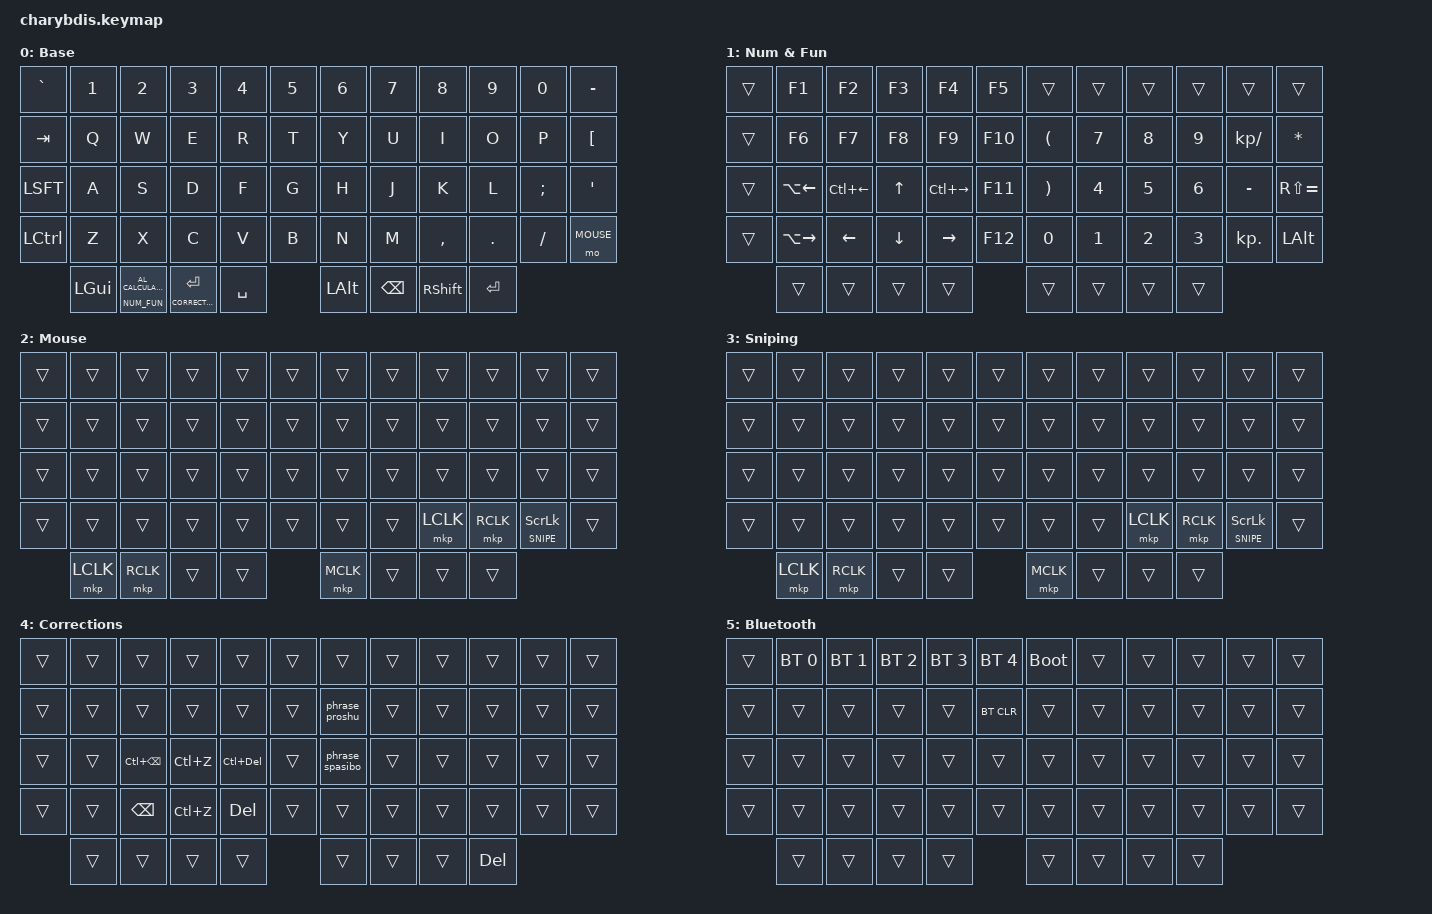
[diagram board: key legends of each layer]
#include <dt-bindings/zmk/mouse.h>
#include <behaviors/mouse_keys.dtsi>
#include <behaviors.dtsi>
#include <dt-bindings/zmk/bt.h>
#include <dt-bindings/zmk/keys.h>
#include <dt-bindings/zmk/outputs.h>
#include <dt-bindings/zmk/pointing.h>

/ {
    chosen { zmk,physical-layout = &charybdis_6col_layout; };
};

&mt {
    quick-tap-ms = <200>;
    flavor = "tap-preferred";
    tapping-term-ms = <170>;
};

&lt {
    quick-tap-ms = <200>;
    flavor = "tap-preferred";
    tapping-term-ms = <170>;
};

// Layer definitions
#define BASE 0
#define NUM_FUN 1
#define MOUSE 2
#define SNIPE 3
#define CORRECTIONS 4
#define SET_BT 5

/ {
  behaviors {
    // Hold-tap behavior for layer with tap-preferred
    blt: blt {
      compatible = "zmk,behavior-hold-tap";
      #binding-cells = <2>;
      flavor = "tap-preferred";
      tapping-term-ms = <200>;
      quick-tap-ms = <300>;
      require-prior-idle-ms = <100>;
      bindings = <&mo>, <&kp>;
    };

    // Tap-dance for GUI/Ctrl+B
    gui_ctrlb: gui_ctrlb {
      compatible = "zmk,behavior-tap-dance";
      #binding-cells = <0>;
      tapping-term-ms = <200>;
      bindings = <&kp LGUI>, <&kp LC(B)>;
    };

    // Home row mods - Left hand
    hml: home_row_mod_left {
      compatible = "zmk,behavior-hold-tap";
      #binding-cells = <2>;
      flavor = "balanced";
      require-prior-idle-ms = <150>;
      tapping-term-ms = <280>;
      quick-tap-ms = <175>;
      bindings = <&kp>, <&kp>;
      hold-trigger-key-positions = <6 7 8 9 10 11 18 19 20 21 22 23 30 31 32 33 34 35 42 43 44 45 46 47 53 54 55>; // Right side keys
      hold-trigger-on-release;
    };

    // Home row mods - Right hand
    hmr: home_row_mod_right {
      compatible = "zmk,behavior-hold-tap";
      #binding-cells = <2>;
      flavor = "balanced";
      require-prior-idle-ms = <150>;
      tapping-term-ms = <280>;
      quick-tap-ms = <175>;
      bindings = <&kp>, <&kp>;
      hold-trigger-key-positions = <0 1 2 3 4 5 12 13 14 15 16 17 24 25 26 27 28 29 36 37 38 39 40 41 48 49 50 51 52>; // Left side keys
      hold-trigger-on-release;
    };
  };

  macros {
    // Ctrl+Alt+Cmd macro
    CAC: CAC {
      compatible = "zmk,behavior-macro-one-param";
      #binding-cells = <1>;
      bindings
        = <&macro_press &kp LCTRL &kp LALT &kp LGUI>
        , <&macro_param_1to1>
        , <&macro_tap &kp MACRO_PLACEHOLDER>
        , <&macro_release &kp LCTRL &kp LALT &kp LGUI>
        ;
    };

    // Ctrl+Shift+Alt macro
    CSA: CSA {
      compatible = "zmk,behavior-macro-one-param";
      #binding-cells = <1>;
      bindings
        = <&macro_press &kp LCTRL &kp LSHIFT &kp LALT>
        , <&macro_param_1to1>
        , <&macro_tap &kp MACRO_PLACEHOLDER>
        , <&macro_release &kp LCTRL &kp LSHIFT &kp LALT>
        ;
    };

    // Ctrl+Alt macro
    CA: CA {
      compatible = "zmk,behavior-macro-one-param";
      #binding-cells = <1>;
      bindings
        = <&macro_press &kp LCTRL &kp LALT>
        , <&macro_param_1to1>
        , <&macro_tap &kp MACRO_PLACEHOLDER>
        , <&macro_release &kp LCTRL &kp LALT>
        ;
    };

    // Shift+Middle Click macro
    ls_mclk: ls_mclk {
      compatible = "zmk,behavior-macro";
      wait-ms = <0>;
      tap-ms = <10>;
      #binding-cells = <0>;
      bindings
        = <&macro_press &kp LSHIFT>
        , <&macro_tap &mkp MCLK>
        , <&macro_release &kp LSHIFT>
        ;
    };

    // Russian phrase macro: "Прошу рассмотреть"
    phrase_proshu: phrase_proshu {
      compatible = "zmk,behavior-macro";
      #binding-cells = <0>;
      bindings
        = <&macro_press &kp LSHIFT>
        , <&macro_tap &kp G>
        , <&macro_release &kp LSHIFT>
        , <&macro_tap &kp H &kp J &kp I &kp E &kp SPACE>
        , <&macro_tap &kp H &kp F &kp C &kp C &kp V &kp J &kp N &kp H &kp T &kp N &kp M>
        , <&macro_press &kp LCTRL>
        , <&macro_tap &kp ENTER>
        , <&macro_release &kp LCTRL>
        ;
    };

    // Russian phrase macro: "Спасибо!"
    phrase_spasibo: phrase_spasibo {
      compatible = "zmk,behavior-macro";
      #binding-cells = <0>;
      bindings
        = <&macro_press &kp LSHIFT>
        , <&macro_tap &kp C>
        , <&macro_release &kp LSHIFT>
        , <&macro_tap &kp G &kp F &kp C &kp B &kp COMMA &kp J &kp EXCL>
        , <&macro_press &kp LCTRL>
        , <&macro_tap &kp ENTER>
        , <&macro_release &kp LCTRL>
        ;
    };
  };

  combos {
    compatible = "zmk,combos";
    timeout-ms = <20>;
    require-prior-idle-ms = <250>;

    // Studio Unlock Combo - all three right thumb keys
    combo_studio_unlock {
      timeout-ms = <50>;
      key-positions = <53 54 55>;
      bindings = <&studio_unlock>;
    };

    // ===== Combos from WHT-MAIN-SWG =====
    // Symbols
    minus {
      bindings = <&kp MINUS>;
      key-positions = <31 30>;
    };

    par {
      bindings = <&kp RIGHT_PARENTHESIS>;
      key-positions = <31 32>;
      require-prior-idle-ms = <100>;
    };

    par2 {
      bindings = <&kp LEFT_PARENTHESIS>;
      key-positions = <27 28>;
      require-prior-idle-ms = <100>;
    };

    underscore {
      bindings = <&kp UNDER>;
      key-positions = <42 43>;
    };

    bra {
      bindings = <&kp LEFT_BRACKET>;
      key-positions = <15 16>;
    };

    right {
      bindings = <&kp RIGHT_BRACKET>;
      key-positions = <19 20>;
    };

    equal {
      bindings = <&kp EQUAL>;
      key-positions = <40 41>;
    };

    plus {
      bindings = <&kp PLUS>;
      key-positions = <18 19>;
    };

    less {
      bindings = <&kp LESS_THAN>;
      key-positions = <39 40>;
    };

    greater {
      bindings = <&kp GREATER_THAN>;
      key-positions = <43 44>;
    };

    // Special keys
    esc {
      bindings = <&kp ESCAPE>;
      key-positions = <0 1>;
    };

    logoff {
      bindings = <&kp LG(L)>;
      key-positions = <0 12>;
    };

    // Layer access
    LAYER_BT {
      bindings = <&mo SET_BT>;
      key-positions = <36 47>;
    };

    // Navigation (only active on layer 1)
    home {
      bindings = <&kp HOME>;
      key-positions = <10 22>;
      layers = <NUM_FUN>;
    };

    end {
      bindings = <&kp END>;
      key-positions = <11 23>;
      layers = <NUM_FUN>;
    };

    pg_up {
      bindings = <&kp PAGE_UP>;
      key-positions = <10 11>;
      layers = <NUM_FUN>;
    };

    pg_dn {
      bindings = <&kp PAGE_DOWN>;
      key-positions = <22 23>;
      layers = <NUM_FUN>;
    };

    ar_up {
      bindings = <&kp UP_ARROW>;
      key-positions = <34 35>;
      layers = <NUM_FUN>;
    };

    ar_dn {
      bindings = <&kp DOWN_ARROW>;
      key-positions = <46 47>;
      layers = <NUM_FUN>;
    };

    ar_lt {
      bindings = <&kp LEFT_ARROW>;
      key-positions = <34 46>;
      layers = <NUM_FUN>;
    };

    al_rt {
      bindings = <&kp RIGHT_ARROW>;
      key-positions = <35 47>;
      layers = <NUM_FUN>;
    };

    // Scrolling
    Scroll_L {
      bindings = <&msc SCRL_LEFT>;
      key-positions = <24 36>;
    };

    Scroll_R {
      bindings = <&msc SCRL_RIGHT>;
      key-positions = <25 37>;
    };

  };

  keymap {
    compatible = "zmk,keymap";

// ╭─────────────┬─────────────┬─────────────┬─────────────┬─────────────┬─────────────╮   ╭─────────────┬─────────────┬─────────────┬─────────────┬─────────────┬─────────────╮
//    0             1             2             3             4             5                 6             7             8             9            10            11
// ├─────────────┼─────────────┼─────────────┼─────────────┼─────────────┼─────────────┤   ├─────────────┼─────────────┼─────────────┼─────────────┼─────────────┼─────────────┤
//   12            13            14            15            16            17                18            19            20            21            22            23
// ├─────────────┼─────────────┼─────────────┼─────────────┼─────────────┼─────────────┤   ├─────────────┼─────────────┼─────────────┼─────────────┼─────────────┼─────────────┤
//   24            25            26            27            28            29                30            31            32            33            34            35
// ├─────────────┼─────────────┼─────────────┼─────────────┼─────────────┼─────────────┤   ├─────────────┼─────────────┼─────────────┼─────────────┼─────────────┼─────────────┤
//   36            37            38            39            40            41                42            43            44            45            46            47
// ╰─────────────┴─────────────┴─────────────┴─────────────┴─────────────┴─────────────╯   ╰─────────────┴─────────────┴─────────────┴─────────────┴─────────────┴─────────────╯
//               ╭─────────────┬─────────────┬─────────────┬─────────────┬─────────────╮   ╭─────────────┬─────────────┬─────────────╮
//                  48            49            50            51            52                53            54            55
//               ╰─────────────┴─────────────┴─────────────┴─────────────┴─────────────╯   ╰─────────────┴─────────────┴─────────────╯
//                                                                         Actual Key Positions
//                                          ╭─────────────┬─────────────┬─────────────╮    ╭─────────────┬─────────────╮
//                                             50           51            48                 55            54
//                                          ╰─────────────┼─────────────┼─────────────┤    ├─────────────┼─────────────╯
//                                                          52            49                 53
//                                                        ╰─────────────┴─────────────╯    ╰─────────────╯

    base_layer {
      label = "BASE";
      display-name = "Base";
      bindings = <
// ╭─────────────┬─────────────┬─────────────┬─────────────┬─────────────┬─────────────╮   ╭─────────────┬─────────────┬─────────────┬─────────────┬─────────────┬─────────────╮
    &kp GRAVE     &kp N1        &kp N2        &kp N3        &kp N4        &kp N5            &kp N6        &kp N7        &kp N8        &kp N9        &kp N0        &kp MINUS
// ├─────────────┼─────────────┼─────────────┼─────────────┼─────────────┼─────────────┤   ├─────────────┼─────────────┼─────────────┼─────────────┼─────────────┼─────────────┤
    &kp TAB       &kp Q         &kp W         &kp E         &kp R         &kp T             &kp Y         &kp U         &kp I         &kp O         &kp P         &kp LEFT_BRACKET
// ├─────────────┼─────────────┼─────────────┼─────────────┼─────────────┼─────────────┤   ├─────────────┼─────────────┼─────────────┼─────────────┼─────────────┼─────────────┤
    &kp LSFT      &kp A         &kp S         &kp D         &kp F         &kp G             &kp H         &kp J         &kp K         &kp L         &kp SEMI      &kp APOS
// ├─────────────┼─────────────┼─────────────┼─────────────┼─────────────┼─────────────┤   ├─────────────┼─────────────┼─────────────┼─────────────┼─────────────┼─────────────┤
    &kp LCTRL     &kp Z         &kp X         &kp C         &kp V         &kp B             &kp N         &kp M         &kp COMMA     &kp DOT       &kp FSLH      &mo MOUSE
// ╰─────────────┴─────────────┴─────────────┴─────────────┴─────────────┴─────────────╯   ╰─────────────┴─────────────┴─────────────┴─────────────┴─────────────┴─────────────╯
//               ╭──────────┬─────────────────────────┬─────────────────────┬─────────────┬─────────────╮   ╭────────────┬────────────┬────────────────╮
                  &kp LGUI  &lt NUM_FUN C_AL_CALCULATOR  &lt CORRECTIONS ENTER  &kp SPACE  &kp LEFT_ALT      &kp BACKSPACE &kp RSHIFT    &kp ENTER
//               ╰──────────┴─────────────────────────┴─────────────────────┴─────────────┴─────────────╯   ╰────────────┴────────────┴────────────────╯
      >;
    };

    num_and_fun_layer {
      label = "NUM_FUN";
      display-name = "Num & Fun";
      bindings = <
// ╭─────────────┬─────────────┬─────────────┬─────────────┬─────────────┬─────────────╮   ╭─────────────┬─────────────┬─────────────┬─────────────┬─────────────┬─────────────╮
    &trans        &kp F1        &kp F2        &kp F3        &kp F4        &kp F5            &trans        &trans        &trans        &trans        &trans        &trans
// ├─────────────┼─────────────┼─────────────┼─────────────┼─────────────┼─────────────┤   ├─────────────┼─────────────┼─────────────┼─────────────┼─────────────┼─────────────┤
    &trans        &kp F6        &kp F7        &kp F8        &kp F9        &kp F10           &kp LPAR      &kp N7        &kp N8        &kp N9        &kp KP_DIVIDE &kp ASTERISK
// ├─────────────┼─────────────┼─────────────┼─────────────┼─────────────┼─────────────┤   ├─────────────┼─────────────┼─────────────┼─────────────┼─────────────┼─────────────┤
    &trans        &kp LA(LEFT)  &kp LC(LEFT)  &kp UP        &kp LC(RIGHT) &kp F11           &kp RPAR      &kp N4        &kp N5        &kp N6        &kp MINUS     &kp RS(EQUAL)
// ├─────────────┼─────────────┼─────────────┼─────────────┼─────────────┼─────────────┤   ├─────────────┼─────────────┼─────────────┼─────────────┼─────────────┼─────────────┤
    &trans        &kp LA(RIGHT) &kp LEFT      &kp DOWN      &kp RIGHT     &kp F12           &kp N0        &kp N1        &kp N2        &kp N3        &kp KP_DOT    &kp LEFT_ALT
// ╰─────────────┴─────────────┴─────────────┴─────────────┴─────────────┴─────────────╯   ╰─────────────┴─────────────┴─────────────┴─────────────┴─────────────┴─────────────╯
//               ╭─────────────┬─────────────┬─────────────┬─────────────┬─────────────╮   ╭─────────────┬─────────────┬─────────────╮
                  &trans        &trans        &trans        &trans        &trans            &trans        &trans        &trans
//               ╰─────────────┴─────────────┴─────────────┴─────────────┴─────────────╯   ╰─────────────┴─────────────┴─────────────╯
      >;
    };

    mouse_layer {
      label = "MOUSE";
      display-name = "Mouse";
      bindings = <
// ╭─────────────┬─────────────┬─────────────┬─────────────┬─────────────┬─────────────╮   ╭─────────────┬─────────────┬─────────────┬─────────────┬─────────────┬─────────────╮
    &trans        &trans        &trans        &trans        &trans        &trans            &trans        &trans        &trans        &trans        &trans        &trans
// ├─────────────┼─────────────┼─────────────┼─────────────┼─────────────┼─────────────┤   ├─────────────┼─────────────┼─────────────┼─────────────┼─────────────┼─────────────┤
    &trans        &trans        &trans        &trans        &trans        &trans            &trans        &trans        &trans        &trans        &trans        &trans
// ├─────────────┼─────────────┼─────────────┼─────────────┼─────────────┼─────────────┤   ├─────────────┼─────────────┼─────────────┼─────────────┼─────────────┼─────────────┤
    &trans        &trans        &trans        &trans        &trans        &trans            &trans        &trans        &trans        &trans        &trans        &trans
// ├─────────────┼─────────────┼─────────────┼─────────────┼─────────────┼─────────────┤   ├─────────────┼─────────────┼─────────────┼─────────────┼─────────────┼─────────────┤
    &trans        &trans        &trans        &trans        &trans        &trans            &trans        &trans        &mkp LCLK     &mkp RCLK     &lt SNIPE SCROLLLOCK &trans
// ╰─────────────┴─────────────┴─────────────┴─────────────┴─────────────┴─────────────╯   ╰─────────────┴─────────────┴─────────────┴─────────────┴─────────────┴─────────────╯
//               ╭─────────────┬─────────────┬─────────────┬─────────────┬─────────────╮   ╭─────────────┬─────────────┬─────────────╮
                  &mkp LCLK     &mkp RCLK     &trans        &trans        &mkp MCLK         &trans        &trans        &trans
//               ╰─────────────┴─────────────┴─────────────┴─────────────┴─────────────╯   ╰─────────────┴─────────────┴─────────────╯
      >;
    };

    snipe_layer {
      label = "SNIPE";
      display-name = "Sniping";
      bindings = <
// ╭─────────────┬─────────────┬─────────────┬─────────────┬─────────────┬─────────────╮   ╭─────────────┬─────────────┬─────────────┬─────────────┬─────────────┬─────────────╮
    &trans        &trans        &trans        &trans        &trans        &trans            &trans        &trans        &trans        &trans        &trans        &trans
// ├─────────────┼─────────────┼─────────────┼─────────────┼─────────────┼─────────────┤   ├─────────────┼─────────────┼─────────────┼─────────────┼─────────────┼─────────────┤
    &trans        &trans        &trans        &trans        &trans        &trans            &trans        &trans        &trans        &trans        &trans        &trans
// ├─────────────┼─────────────┼─────────────┼─────────────┼─────────────┼─────────────┤   ├─────────────┼─────────────┼─────────────┼─────────────┼─────────────┼─────────────┤
    &trans        &trans        &trans        &trans        &trans        &trans            &trans        &trans        &trans        &trans        &trans        &trans
// ├─────────────┼─────────────┼─────────────┼─────────────┼─────────────┼─────────────┤   ├─────────────┼─────────────┼─────────────┼─────────────┼─────────────┼─────────────┤
    &trans        &trans        &trans        &trans        &trans        &trans            &trans        &trans        &mkp LCLK     &mkp RCLK     &lt SNIPE SCROLLLOCK &trans
// ╰─────────────┴─────────────┴─────────────┴─────────────┴─────────────┴─────────────╯   ╰─────────────┴─────────────┴─────────────┴─────────────┴─────────────┴─────────────╯
//               ╭─────────────┬─────────────┬─────────────┬─────────────┬─────────────╮   ╭─────────────┬─────────────┬─────────────╮
                  &mkp LCLK     &mkp RCLK     &trans        &trans        &mkp MCLK         &trans        &trans        &trans
//               ╰─────────────┴─────────────┴─────────────┴─────────────┴─────────────╯   ╰─────────────┴─────────────┴─────────────╯
      >;
    };

    corrections_layer {
      label = "CORR";
      display-name = "Corrections";
      bindings = <
// ╭─────────────┬─────────────┬─────────────┬─────────────┬─────────────┬─────────────╮   ╭─────────────┬─────────────┬─────────────┬─────────────┬─────────────┬─────────────╮
    &trans        &trans        &trans        &trans        &trans        &trans            &trans        &trans        &trans        &trans        &trans        &trans
// ├─────────────┼─────────────┼─────────────┼─────────────┼─────────────┼─────────────┤   ├─────────────┼─────────────┼─────────────┼─────────────┼─────────────┼─────────────┤
    &trans        &trans        &trans        &trans        &trans        &trans            &phrase_proshu &trans       &trans        &trans        &trans        &trans
// ├─────────────┼─────────────┼─────────────┼─────────────┼─────────────┼─────────────┤   ├─────────────┼─────────────┼─────────────┼─────────────┼─────────────┼─────────────┤
    &trans        &trans        &kp LC(BSPC)  &kp LC(Z)     &kp LC(DEL)   &trans            &phrase_spasibo &trans      &trans        &trans        &trans        &trans
// ├─────────────┼─────────────┼─────────────┼─────────────┼─────────────┼─────────────┤   ├─────────────┼─────────────┼─────────────┼─────────────┼─────────────┼─────────────┤
    &trans        &trans        &kp BSPC      &kp LC(Z)     &kp DEL       &trans            &trans        &trans        &trans        &trans        &trans        &trans
// ╰─────────────┴─────────────┴─────────────┴─────────────┴─────────────┴─────────────╯   ╰─────────────┴─────────────┴─────────────┴─────────────┴─────────────┴─────────────╯
//               ╭─────────────┬─────────────┬─────────────┬─────────────┬─────────────╮   ╭─────────────┬─────────────┬─────────────╮
                  &trans        &trans        &trans        &trans        &trans            &trans        &trans        &kp DEL
//               ╰─────────────┴─────────────┴─────────────┴─────────────┴─────────────╯   ╰─────────────┴─────────────┴─────────────╯
      >;
    };

    set_bt_layer {
      label = "BT";
      display-name = "Bluetooth";
      bindings = <
// ╭─────────────┬─────────────┬─────────────┬─────────────┬─────────────┬─────────────╮   ╭─────────────┬─────────────┬─────────────┬─────────────┬─────────────┬─────────────╮
    &trans        &bt BT_SEL 0  &bt BT_SEL 1  &bt BT_SEL 2  &bt BT_SEL 3  &bt BT_SEL 4      &bootloader   &trans        &trans        &trans        &trans        &trans
// ├─────────────┼─────────────┼─────────────┼─────────────┼─────────────┼─────────────┤   ├─────────────┼─────────────┼─────────────┼─────────────┼─────────────┼─────────────┤
    &trans        &trans        &trans        &trans        &trans        &bt BT_CLR        &trans        &trans        &trans        &trans        &trans        &trans
// ├─────────────┼─────────────┼─────────────┼─────────────┼─────────────┼─────────────┤   ├─────────────┼─────────────┼─────────────┼─────────────┼─────────────┼─────────────┤
    &trans        &trans        &trans        &trans        &trans        &trans            &trans        &trans        &trans        &trans        &trans        &trans
// ├─────────────┼─────────────┼─────────────┼─────────────┼─────────────┼─────────────┤   ├─────────────┼─────────────┼─────────────┼─────────────┼─────────────┼─────────────┤
    &trans        &trans        &trans        &trans        &trans        &trans            &trans        &trans        &trans        &trans        &trans        &trans
// ╰─────────────┴─────────────┴─────────────┴─────────────┴─────────────┴─────────────╯   ╰─────────────┴─────────────┴─────────────┴─────────────┴─────────────┴─────────────╯
//               ╭─────────────┬─────────────┬─────────────┬─────────────┬─────────────╮   ╭─────────────┬─────────────┬─────────────╮
                  &trans        &trans        &trans        &trans        &trans            &trans        &trans        &trans
//               ╰─────────────┴─────────────┴─────────────┴─────────────┴─────────────╯   ╰─────────────┴─────────────┴─────────────╯
      >;
    };
  };
};
